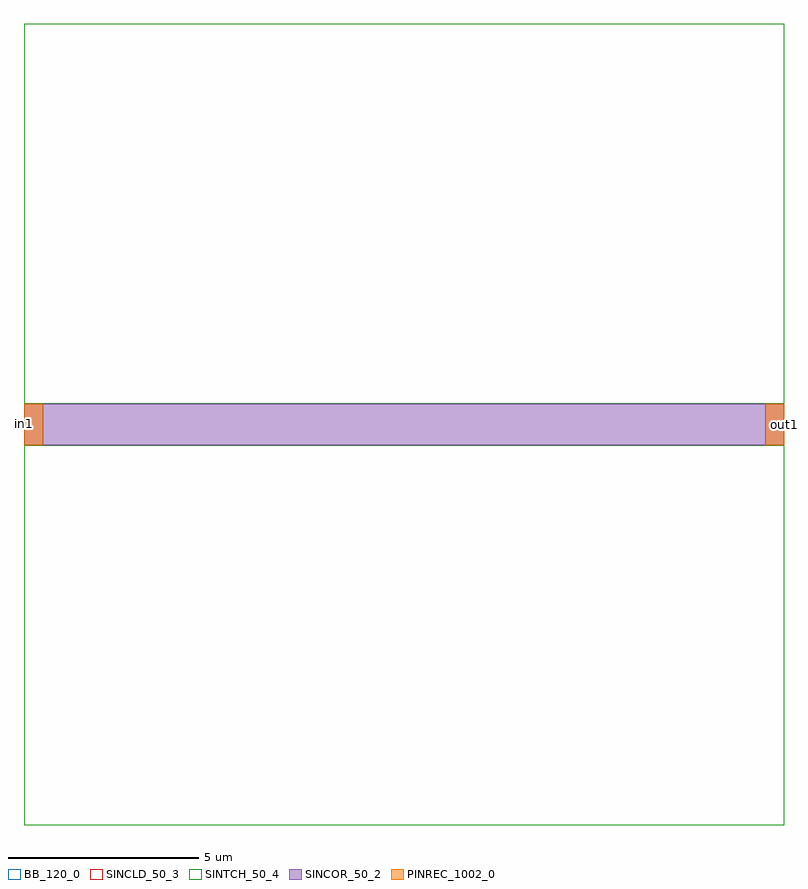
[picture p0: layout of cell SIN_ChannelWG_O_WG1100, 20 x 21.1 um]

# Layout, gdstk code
import gdstk
lib = gdstk.Library(unit=1e-6, precision=1e-09)
def R(c, l, rs):  # rectangles x0, y0, x1, y1
    for r in rs: c.add(gdstk.rectangle(r[:2], r[2:], *l))
SINCOR_50_2 = (50, 2)
SINCLD_50_3 = (50, 3)
SINTCH_50_4 = (50, 4)
BB_120_0 = (120, 0)
PINREC_1002_0 = (1002, 0)

sin_channelwg_o_wg1100 = lib.new_cell('SIN_ChannelWG_O_WG1100')
R(sin_channelwg_o_wg1100, SINCOR_50_2, [(0,10,20,11.1)])
R(sin_channelwg_o_wg1100, SINCLD_50_3, [(0,0,20,21.1)])
R(sin_channelwg_o_wg1100, SINTCH_50_4, [(0,0,20,10), (0,11.1,20,21.1)])
R(sin_channelwg_o_wg1100, BB_120_0, [(0,0,20,21.1)])
R(sin_channelwg_o_wg1100, PINREC_1002_0, [(0,10,0.5,11.1), (19.5,10,20,11.1)])
sin_channelwg_o_wg1100.add(gdstk.Label('out1', (20,10.537), layer=1000, texttype=0))
sin_channelwg_o_wg1100.add(gdstk.Label('in1', (0,10.569), layer=1000, texttype=0))

lib.write_gds('SIN_ChannelWG_O_WG1100.gds')
